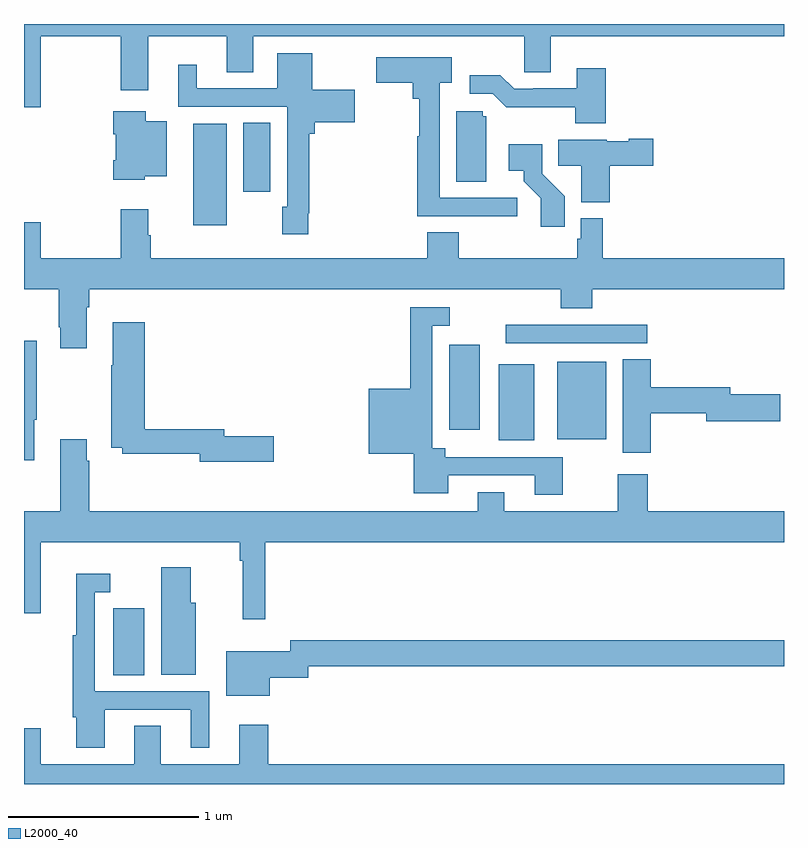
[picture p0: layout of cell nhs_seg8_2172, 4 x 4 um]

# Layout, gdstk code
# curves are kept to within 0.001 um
import gdstk
lib = gdstk.Library(unit=1e-6, precision=1e-09)
def R(c, l, rs):  # rectangles x0, y0, x1, y1
    for r in rs: c.add(gdstk.rectangle(r[:2], r[2:], *l))
def P(c, l, *ps):  # polygons
    for p in ps: c.add(gdstk.Polygon(p, *l))
L2000_40 = (2000, 40)

nhs_seg8_2172 = lib.new_cell('nhs_seg8_2172')
R(nhs_seg8_2172, L2000_40, [(249.47,1110.472,249.634,1110.826), (251.498,1111.709,251.686,1112.11), (251.807,1111.715,252.064,1112.122), (251.237,1111.764,251.398,1112.212), (251.535,1112.22,252.28,1112.316), (249.89,1112.84,250.066,1113.376), (250.154,1113.018,250.297,1113.38)])
P(nhs_seg8_2172, L2000_40, [(249.088,1113.836),(249.508,1113.836),(249.508,1113.552),(249.655,1113.552),(249.655,1113.836),(250.067,1113.836),(250.067,1113.646),(250.207,1113.646),(250.207,1113.836),(251.634,1113.836),(251.634,1113.646),(251.773,1113.646),(251.773,1113.836),(253,1113.836),(253,1113.9),(249,1113.9),(249,1113.462),(249.088,1113.462)],
  [(250.495,1112.905),(250.502,1112.905),(250.502,1113.323),(250.529,1113.323),(250.529,1113.383),(250.741,1113.383),(250.741,1113.553),(250.516,1113.553),(250.516,1113.745),(250.334,1113.745),(250.334,1113.561),(249.91,1113.561),(249.91,1113.685),(249.812,1113.685),(249.812,1113.465),(250.386,1113.465),(250.386,1112.937),(250.36,1112.937),(250.36,1112.793),(250.495,1112.793)],
  [(251.596,1112.985),(251.187,1112.985),(251.187,1113.59),(251.251,1113.59),(251.251,1113.724),(250.854,1113.724),(250.854,1113.59),(251.047,1113.59),(251.047,1113.506),(251.079,1113.506),(251.079,1113.31),(251.071,1113.31),(251.071,1112.889),(251.371,1112.889),(251.371,1112.887),(251.596,1112.887)],
  [(252.062,1113.667),(251.909,1113.667),(251.909,1113.561),(251.68,1113.561),(251.68,1113.558),(251.58,1113.558),(251.507,1113.631),(251.346,1113.631),(251.346,1113.534),(251.466,1113.534),(251.539,1113.461),(251.902,1113.462),(251.902,1113.377),(252.062,1113.377)],
  [(249.636,1113.098),(249.751,1113.098),(249.751,1113.388),(249.64,1113.388),(249.64,1113.442),(249.47,1113.442),(249.47,1113.32),(249.482,1113.32),(249.482,1113.184),(249.47,1113.184),(249.47,1113.08),(249.636,1113.08)],
  [(251.434,1113.414),(251.415,1113.414),(251.415,1113.441),(251.276,1113.441),(251.276,1113.07),(251.434,1113.07)],
  [(252.083,1113.154),(252.313,1113.154),(252.313,1113.296),(252.183,1113.296),(252.183,1113.283),(252.066,1113.283),(252.066,1113.292),(251.812,1113.292),(251.812,1113.154),(251.933,1113.154),(251.933,1112.963),(252.083,1112.963)],
  [(251.846,1112.994),(251.727,1113.113),(251.727,1113.268),(251.55,1113.268),(251.55,1113.128),(251.63,1113.128),(251.63,1113.073),(251.721,1112.983),(251.721,1112.832),(251.846,1112.832)],
  [(249.331,1112.408),(249.344,1112.408),(249.344,1112.504),(251.825,1112.504),(251.825,1112.405),(251.99,1112.405),(251.99,1112.504),(253,1112.504),(253,1112.668),(252.047,1112.668),(252.047,1112.878),(251.931,1112.878),(251.931,1112.769),(251.911,1112.769),(251.911,1112.668),(251.288,1112.668),(251.288,1112.804),(251.123,1112.804),(251.123,1112.668),(249.668,1112.668),(249.668,1112.789),(249.655,1112.789),(249.655,1112.926),(249.508,1112.926),(249.508,1112.668),(249.088,1112.668),(249.088,1112.857),(249,1112.857),(249,1112.504),(249.184,1112.504),(249.184,1112.305),(249.191,1112.305),(249.191,1112.193),(249.331,1112.193)],
  [(251.835,1111.62),(251.218,1111.62),(251.218,1111.666),(251.149,1111.666),(251.149,1111.877),(251.148,1111.877),(251.148,1112.313),(251.242,1112.313),(251.242,1112.409),(251.032,1112.409),(251.032,1111.981),(250.814,1111.981),(250.814,1111.637),(251.051,1111.637),(251.051,1111.43),(251.233,1111.43),(251.233,1111.524),(251.687,1111.524),(251.687,1111.422),(251.835,1111.422)],
  [(250.315,1111.73),(250.054,1111.73),(250.054,1111.766),(249.635,1111.766),(249.635,1112.329),(249.467,1112.329),(249.467,1112.105),(249.46,1112.105),(249.46,1111.67),(249.516,1111.67),(249.516,1111.638),(249.926,1111.638),(249.926,1111.595),(250.315,1111.595)],
  [(249.055,1111.817),(249.067,1111.817),(249.067,1112.233),(249,1112.233),(249,1111.605),(249.055,1111.605)],
  [(252.299,1111.852),(252.59,1111.852),(252.59,1111.81),(252.979,1111.81),(252.979,1111.952),(252.718,1111.952),(252.718,1111.988),(252.299,1111.988),(252.299,1112.135),(252.152,1112.135),(252.152,1111.644),(252.299,1111.644)],
  [(250.271,1111.172),(253,1111.172),(253,1111.336),(252.284,1111.336),(252.284,1111.531),(252.124,1111.531),(252.124,1111.336),(251.527,1111.336),(251.527,1111.435),(251.387,1111.435),(251.387,1111.336),(249.344,1111.336),(249.344,1111.601),(249.331,1111.601),(249.331,1111.714),(249.191,1111.714),(249.191,1111.336),(249,1111.336),(249,1110.798),(249.088,1110.798),(249.088,1111.172),(250.135,1111.172),(250.135,1111.076),(250.15,1111.076),(250.15,1110.768),(250.271,1110.768)],
  [(249.904,1110.855),(249.877,1110.855),(249.877,1111.042),(249.722,1111.042),(249.722,1110.476),(249.904,1110.476)],
  [(249.424,1110.291),(249.878,1110.291),(249.878,1110.09),(249.976,1110.09),(249.976,1110.387),(249.372,1110.387),(249.372,1110.909),(249.454,1110.909),(249.454,1111.006),(249.275,1111.006),(249.275,1110.684),(249.256,1110.684),(249.256,1110.252),(249.275,1110.252),(249.275,1110.09),(249.424,1110.09)],
  [(250.294,1110.459),(250.497,1110.459),(250.497,1110.52),(253,1110.52),(253,1110.656),(250.401,1110.656),(250.401,1110.598),(250.064,1110.598),(250.064,1110.365),(250.294,1110.365)],
  [(253,1110.004),(250.286,1110.004),(250.286,1110.211),(250.133,1110.211),(250.133,1110.004),(249.721,1110.004),(249.721,1110.206),(249.581,1110.206),(249.581,1110.004),(249.088,1110.004),(249.088,1110.193),(249,1110.193),(249,1109.9),(253,1109.9)])

lib.write_gds('nhs_seg8_2172.gds')
